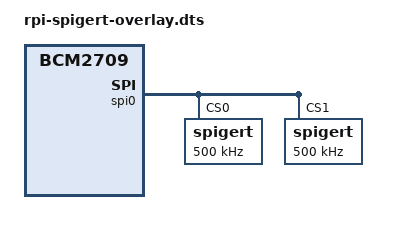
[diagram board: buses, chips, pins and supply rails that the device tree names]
// Device Tree overlay for the spigert module used by Comedi daq_gert analog devices

/dts-v1/;
/plugin/;

/ {
    compatible = "brcm,bcm2835", "brcm,bcm2708", "brcm,bcm2709";
    /* disable spi-dev for spi0.0 & spi0.1 */
        fragment@0 {
                target = <&spi0>;
                __overlay__ {
                        status = "okay";
                };
        };

        fragment@1 {
                target = <&spidev0>;
                __overlay__ {
                        status = "disabled";
                };
        };

        fragment@2 {
                target = <&spidev1>;
                __overlay__ {
                        status = "disabled";
                };
        };

    fragment@3 {
	target = <&gpio>;
	__overlay__ {
            spi0_pins: spi0_pins {
            brcm,pins = <7 8 9 10 11>;
            brcm,function = <4>; /* alt0 */
            };
	};
    };

    fragment@4 {
	target = <&spi0>;
	__overlay__ {
            #address-cells = <1>;
            #size-cells = <0>;
            pinctrl-names = "default";
            pinctrl-0 = <&spi0_pins>;

            spigert@0 {
                compatible = "spigert";
                reg = <0>;      /* CE0 */
                spi-max-frequency = <500000>;
		status = "okay";
            };

            spigert@1 {
                compatible = "spigert";
                reg = <1>;      /* CE1 */
                spi-max-frequency = <500000>;
		status = "okay";
            };
	};
    };
};
